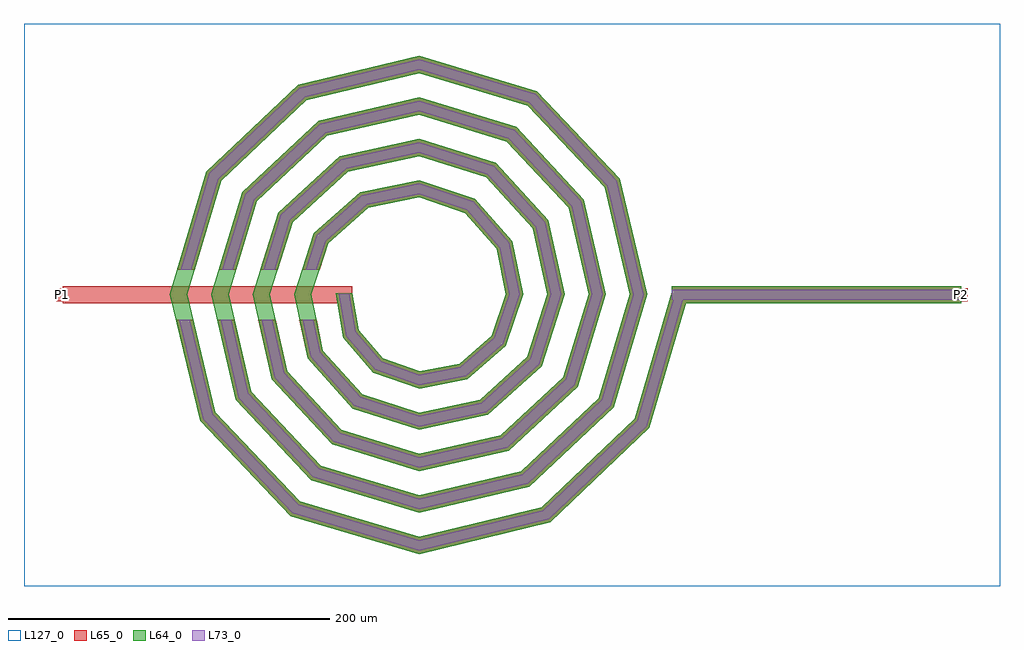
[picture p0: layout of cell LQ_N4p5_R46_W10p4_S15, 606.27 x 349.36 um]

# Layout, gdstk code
import gdstk
lib = gdstk.Library(unit=1e-6, precision=1e-09)
def R(c, l, rs):  # rectangles x0, y0, x1, y1
    for r in rs: c.add(gdstk.rectangle(r[:2], r[2:], *l))
def P(c, l, *ps):  # polygons
    for p in ps: c.add(gdstk.Polygon(p, *l))
L64_0 = (64, 0)
L65_0 = (65, 0)
L73_0 = (73, 0)
L127_0 = (127, 0)

lq_n4p5_r46_w10p4_s15 = lib.new_cell('LQ_N4p5_R46_W10p4_S15')
R(lq_n4p5_r46_w10p4_s15, L64_0, [(156.942,-5.2,336.942,5.2)])
P(lq_n4p5_r46_w10p4_s15, L64_0, [(-37.28,-22.033),(-22.355,-39.564),(0.405,-47.581),(25.198,-42.865),(45.101,-25.606),(54.001,0.362),(48.446,28.373),(28.849,50.642),(0.326,60.422),(-31.555,54.023),(-56.188,32.086),(-66.844,0.297),(-59.598,-34.743),(-35.319,-61.737),(0.273,-73.266),(37.934,-65.171),(67.287,-38.549),(79.688,0.253),(70.742,41.128),(41.776,72.84),(0.235,86.11),(-44.324,76.313),(-78.394,45.002),(-92.533,0.22),(-81.882,-47.523),(-48.225,-83.949),(0.206,-98.955),(50.723,-87.451),(89.505,-51.447),(105.378,0.194),(93.019,53.924),(54.668,95.061),(0.183,111.8),(-57.127,98.586),(-100.619,57.888),(-118.223,0.174),(-104.153,-60.33),(-61.107,-106.176),(0.165,-124.646),(63.534,-109.719),(111.735,-64.325),(131.068,0.158),(115.285,66.739),(67.543,117.293),(0.15,137.491),(-69.944,120.851),(-122.852,70.76),(-143.914,0.144),(-126.416,-73.15),(-73.977,-128.411),(0.138,-150.337),(76.357,-131.982),(133.971,-77.193),(157.154,1.47),(167.13,-1.47),(143.158,-82.808),(81.503,-141.44),(0.138,-161.101),(-79.601,-137.593),(-135.88,-78.286),(-154.678,0.144),(-132.027,76.395),(-75.069,130.321),(0.15,148.255),(73.189,126.462),(124.761,71.852),(141.831,0.158),(120.895,-69.984),(68.634,-119.203),(0.165,-135.408),(-66.779,-115.329),(-113.644,-65.415),(-128.985,0.174),(-109.762,63.575),(-62.195,108.086),(0.183,122.562),(60.372,104.194),(102.528,58.975),(116.139,0.194),(98.626,-57.17),(55.753,-96.971),(0.206,-109.715),(-53.969,-93.057),(-91.415,-52.53),(-103.292,0.22),(-87.487,50.77),(-49.306,85.859),(0.235,96.868),(47.572,81.916),(80.305,46.079),(90.445,0.253),(76.343,-44.376),(42.851,-74.752),(0.273,-84.021),(-41.183,-70.769),(-69.2,-39.619),(-77.597,0.297),(-65.193,37.993),(-36.383,63.65),(0.326,71.172),(34.808,59.614),(58.102,33.142),(64.747,0.362),(54.031,-31.628),(29.894,-52.558),(0.405,-58.322),(-28.456,-48.442),(-47.018,-26.637),(-51.646,0.921),(-41.411,0.921)])
R(lq_n4p5_r46_w10p4_s15, L65_0, [(-221.329,-5.2,-41.329,5.2), (156.942,-5.2,336.942,5.2), (-225.329,-4,-217.329,4), (332.942,-4,340.942,4)])
P(lq_n4p5_r46_w10p4_s15, L65_0, [(-126.416,-73.151),(-73.977,-128.411),(0.138,-150.337),(76.357,-131.982),(133.971,-77.193),(157.154,1.47),(167.13,-1.47),(143.159,-82.808),(81.503,-141.44),(0.138,-161.101),(-79.601,-137.593),(-135.88,-78.286),(-150.904,-15.6),(-140.21,-15.6)],
  [(-104.153,-60.33),(-61.107,-106.176),(0.165,-124.646),(63.534,-109.719),(111.735,-64.325),(131.069,0.158),(115.285,66.739),(67.543,117.293),(0.151,137.491),(-69.945,120.851),(-122.852,70.76),(-139.237,15.6),(-150.087,15.6),(-132.028,76.395),(-75.069,130.321),(0.151,148.255),(73.189,126.462),(124.761,71.852),(141.831,0.158),(120.895,-69.984),(68.634,-119.203),(0.165,-135.408),(-66.779,-115.329),(-113.644,-65.415),(-125.296,-15.6),(-114.615,-15.6)],
  [(-81.882,-47.523),(-48.225,-83.949),(0.206,-98.955),(50.723,-87.451),(89.505,-51.447),(105.378,0.194),(93.019,53.924),(54.668,95.061),(0.184,111.8),(-57.127,98.586),(-100.619,57.888),(-113.44,15.6),(-124.308,15.6),(-109.762,63.575),(-62.195,108.086),(0.184,122.562),(60.372,104.194),(102.528,58.975),(116.139,0.194),(98.626,-57.17),(55.753,-96.971),(0.206,-109.715),(-53.969,-93.057),(-91.415,-52.53),(-99.73,-15.6),(-89.07,-15.6)],
  [(-59.598,-34.743),(-35.319,-61.737),(0.273,-73.266),(37.934,-65.171),(67.287,-38.549),(79.688,0.253),(70.743,41.128),(41.776,72.84),(0.235,86.11),(-44.324,76.313),(-78.394,45.002),(-87.586,15.6),(-98.483,15.6),(-87.487,50.77),(-49.306,85.86),(0.235,96.868),(47.572,81.916),(80.305,46.08),(90.445,0.253),(76.343,-44.376),(42.851,-74.752),(0.273,-84.021),(-41.183,-70.769),(-69.2,-39.619),(-74.253,-15.6),(-63.625,-15.6)],
  [(-22.355,-39.565),(0.405,-47.581),(25.198,-42.865),(45.101,-25.606),(54.001,0.362),(48.446,28.373),(28.849,50.642),(0.326,60.422),(-31.555,54.023),(-56.188,32.086),(-61.613,15.6),(-72.561,15.6),(-65.193,37.993),(-36.383,63.65),(0.326,71.172),(34.808,59.614),(58.102,33.142),(64.748,0.362),(54.031,-31.628),(29.894,-52.558),(0.405,-58.322),(-28.456,-48.442),(-47.018,-26.637),(-51.646,0.921),(-41.411,0.921),(-37.28,-22.033)])
R(lq_n4p5_r46_w10p4_s15, L73_0, [(156.942,-3.2,336.942,3.2)])
P(lq_n4p5_r46_w10p4_s15, L73_0, [(-128.236,-74.138),(-75.058,-130.177),(0.085,-152.407),(77.347,-133.8),(135.738,-78.273),(159.072,0.905),(165.211,0.905),(141.392,-81.728),(80.513,-139.621),(0.085,-159.031),(-78.52,-135.827),(-134.06,-77.299),(-148.848,-15.6),(-142.266,-15.6)],
  [(-105.978,-61.308),(-62.198,-107.936),(0.102,-126.715),(64.515,-111.543),(113.496,-65.413),(133.138,0.097),(117.108,67.722),(68.629,119.056),(0.093,139.561),(-70.93,122.672),(-124.617,71.844),(-141.324,15.6),(-148,15.6),(-130.263,75.311),(-74.084,128.499),(0.093,146.185),(72.103,124.698),(122.939,70.869),(139.762,0.097),(119.134,-68.896),(67.653,-117.379),(0.102,-133.339),(-65.688,-113.569),(-111.819,-64.437),(-123.242,-15.6),(-116.669,-15.6)],
  [(-83.715,-48.486),(-49.33,-85.7),(0.127,-101.024),(51.69,-89.282),(91.259,-52.548),(107.447,0.119),(94.847,54.896),(55.765,96.818),(0.113,113.87),(-58.101,100.413),(-102.377,58.982),(-115.53,15.6),(-122.218,15.6),(-108.003,62.482),(-61.221,106.259),(0.113,120.492),(59.275,102.438),(100.7,58.004),(114.069,0.119),(96.872,-56.07),(54.786,-95.141),(0.127,-107.646),(-52.865,-91.305),(-89.582,-51.567),(-97.68,-15.6),(-91.12,-15.6)],
  [(-61.444,-35.68),(-36.447,-63.474),(0.168,-75.334),(38.879,-67.013),(69.029,-39.67),(81.757,0.156),(72.581,42.08),(42.891,74.585),(0.145,88.179),(-45.282,78.149),(-80.142,46.111),(-89.682,15.6),(-96.388,15.6),(-85.738,49.66),(-48.348,84.024),(0.145,94.799),(46.457,80.17),(78.466,45.127),(88.376,0.156),(74.602,-43.256),(41.905,-72.909),(0.168,-81.953),(-40.055,-69.032),(-67.353,-38.681),(-72.209,-15.6),(-65.669,-15.6)],
  [(-23.528,-41.272),(0.249,-49.647),(26.101,-44.729),(46.818,-26.764),(56.068,0.223),(50.303,29.29),(29.995,52.368),(0.201,62.49),(-32.484,55.874),(-57.92,33.222),(-63.718,15.6),(-70.456,15.6),(-63.461,36.857),(-35.455,61.798),(0.201,69.105),(33.662,57.889),(56.245,32.225),(62.681,0.223),(52.313,-30.47),(28.991,-50.694),(0.249,-56.256),(-27.282,-46.735),(-45.146,-25.752),(-49.678,0.567),(-43.379,0.567),(-39.153,-22.918)])
R(lq_n4p5_r46_w10p4_s15, L127_0, [(-245.329,-181.101,360.942,168.255)])
lq_n4p5_r46_w10p4_s15.add(gdstk.Label('P2', (336.942,0), layer=65, texttype=0))
lq_n4p5_r46_w10p4_s15.add(gdstk.Label('P1', (-221.329,0), layer=65, texttype=0))
lq_n4p5_r46_w10p4_s15.add(gdstk.Label('P2', (340.942,0), layer=145, texttype=0))
lq_n4p5_r46_w10p4_s15.add(gdstk.Label('P1', (-225.329,0), layer=145, texttype=0))

lib.write_gds('LQ_N4p5_R46_W10p4_S15.gds')
